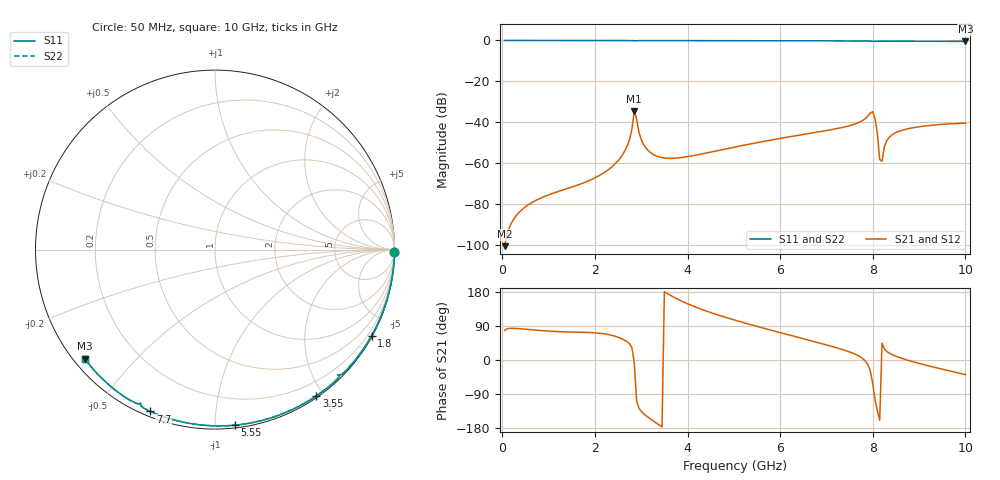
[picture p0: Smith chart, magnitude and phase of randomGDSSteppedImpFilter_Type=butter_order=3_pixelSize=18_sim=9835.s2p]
! freq	dB(S11)	phase(S11)	dB(S12)	phase(S12)
!  dB(S21)	phase(S21)	dB(S22)	phase(S22)
!S-par simulation data
#  GHz  S  DB  R 50
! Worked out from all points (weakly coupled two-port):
!   200 points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, 50 MHz to 10 GHz, reference 50 ohm
!   highest |S21| = -34.44 dB at 2.85 GHz (marker M1); lowest = -100.7 dB at 50 MHz (marker M2)
!   lowest |S11| = -0.5 dB at 10 GHz (marker M3), VSWR 36.38, Z = 1.56 - j18.2 ohm
!   |S11| at or under -10 dB: nowhere
!   |S22| runs from -0.5 to 0.0 dB; largest |S21 - S12| = 0
!   S11 on the Smith chart (normalised r, x): 50 MHz: open; 1.8 GHz: 0.03, -3.90; 3.55 GHz: 0.02, -1.91; 5.55 GHz: 0.02, -1.12; 7.7 GHz: 0.02, -0.68; 10 GHz: 0.03, -0.36
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0.05  -0.00 -0.8  -100.66 77.8  -100.66 77.8  -0.00 -0.8
0.6  -0.01 -9.7  -79.85 80.1  -79.85 80.1  -0.01 -9.7
1.75  -0.04 -28.0  -69.73 73.1  -69.73 73.1  -0.04 -28.0
1.8  -0.04 -28.8  -69.27 72.9  -69.27 72.9  -0.04 -28.8
2.55  -0.05 -40.4  -57.47 57.8  -57.47 57.8  -0.05 -40.4
2.75  -0.06 -43.6  -48.24 42.2  -48.24 42.2  -0.06 -43.6
2.85  -0.19 -45.6  -34.44 -7.2  -34.44 -7.2  -0.19 -45.6
3.05  -0.07 -47.8  -50.84 -141.5  -50.84 -141.5  -0.07 -47.8
3.4  -0.07 -53.1  -57.04 -172.4  -57.04 -172.4  -0.07 -53.1
3.55  -0.07 -55.3  -57.64 176.2  -57.64 176.2  -0.07 -55.3
5.05  -0.12 -76.8  -52.02 104.2  -52.02 104.2  -0.12 -76.8
5.55  -0.14 -83.6  -49.80 87.0  -49.80 87.0  -0.14 -83.6
6.7  -0.19 -98.9  -45.24 49.7  -45.24 49.7  -0.19 -98.9
7.7  -0.26 -111.8  -40.12 10.5  -40.12 10.5  -0.26 -111.8
8  -0.42 -115.9  -34.86 -63.1  -34.86 -63.1  -0.42 -115.9
8.1  -0.38 -116.2  -45.75 -133.9  -45.75 -133.9  -0.38 -116.2
8.15  -0.34 -116.8  -58.26 -159.2  -58.26 -159.2  -0.34 -116.8
8.2  -0.33 -117.5  -59.10 44.6  -59.10 44.6  -0.33 -117.5
8.25  -0.32 -118.2  -52.02 29.1  -52.02 29.1  -0.32 -118.2
8.35  -0.32 -119.5  -47.56 18.7  -47.56 18.7  -0.32 -119.5
8.85  -0.36 -125.8  -42.79 -4.0  -42.79 -4.0  -0.36 -125.8
10  -0.48 -140.0  -40.49 -38.5  -40.49 -38.5  -0.48 -140.0
